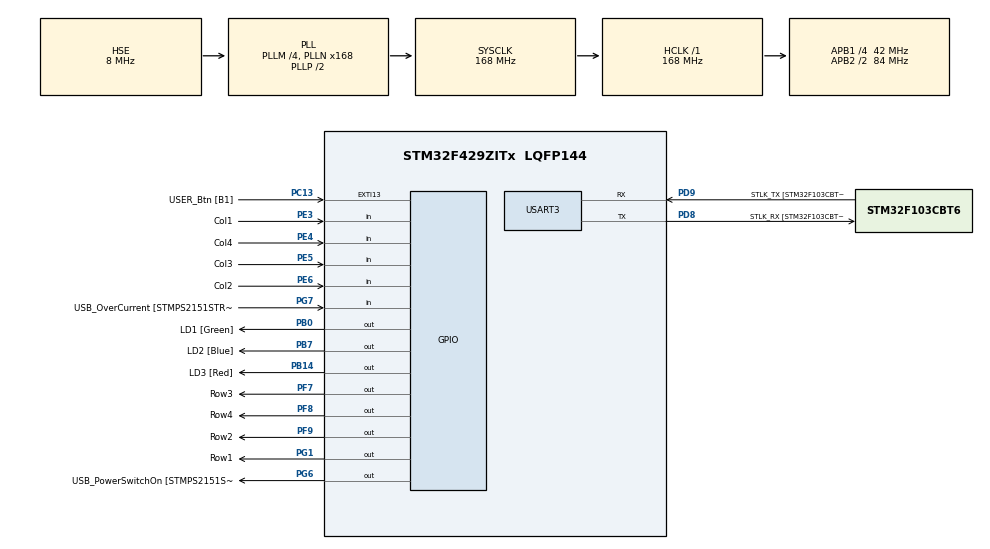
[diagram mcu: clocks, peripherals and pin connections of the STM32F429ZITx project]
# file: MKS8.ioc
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Mcu.Family=STM32F4
Mcu.Name=STM32F429ZITx
Mcu.Package=LQFP144
NVIC.PriorityGroup=NVIC_PRIORITYGROUP_4
NVIC.TIM3_IRQn=true\:0\:0\:false\:false\:true\:true\:true\:true
PA1.GPIO_Label=RMII_REF_CLK [LAN8742A-CZ-TR_REFCLK0]
PA1.Signal=ETH_REF_CLK
PA10.GPIO_Label=USB_ID
PA10.Signal=USB_OTG_FS_ID
PA11.GPIO_Label=USB_DM
PA11.Signal=USB_OTG_FS_DM
PA12.GPIO_Label=USB_DP
PA12.Signal=USB_OTG_FS_DP
PA13.GPIO_Label=TMS
PA13.Mode=Serial_Wire
PA13.Signal=SYS_JTMS-SWDIO
PA14.GPIO_Label=TCK
PA14.Mode=Serial_Wire
PA14.Signal=SYS_JTCK-SWCLK
PA2.GPIO_Label=RMII_MDIO [LAN8742A-CZ-TR_MDIO]
PA2.Signal=ETH_MDIO
PA7.GPIO_Label=RMII_CRS_DV [LAN8742A-CZ-TR_CRS_DV]
PA7.Signal=ETH_CRS_DV
PA8.GPIO_Label=USB_SOF [TP1]
PA8.Signal=USB_OTG_FS_SOF
PA9.GPIO_Label=USB_VBUS
PA9.Signal=USB_OTG_FS_VBUS
PB0.GPIO_Label=LD1 [Green]
PB0.Signal=GPIO_Output
PB13.GPIO_Label=RMII_TXD1 [LAN8742A-CZ-TR_TXD1]
PB13.Signal=ETH_TXD1
PB14.GPIO_Label=LD3 [Red]
PB14.Signal=GPIO_Output
PB7.GPIO_Label=LD2 [Blue]
PB7.Signal=GPIO_Output
PC1.GPIO_Label=RMII_MDC [LAN8742A-CZ-TR_MDC]
PC1.Signal=ETH_MDC
PC13.GPIO_Label=USER_Btn [B1]
PC13.Signal=GPXTI13
PC14/OSC32_IN.Mode=LSE-External-Oscillator
PC14/OSC32_IN.Signal=RCC_OSC32_IN
PC15/OSC32_OUT.Mode=LSE-External-Oscillator
PC15/OSC32_OUT.Signal=RCC_OSC32_OUT
PC4.GPIO_Label=RMII_RXD0 [LAN8742A-CZ-TR_RXD0]
PC4.Signal=ETH_RXD0
PC5.GPIO_Label=RMII_RXD1 [LAN8742A-CZ-TR_RXD1]
PC5.Signal=ETH_RXD1
PD8.GPIO_Label=STLK_RX [STM32F103CBT6_PA3]
PD8.Mode=Asynchronous
PD8.Signal=USART3_TX
PD9.GPIO_Label=STLK_TX [STM32F103CBT6_PA2]
PD9.Mode=Asynchronous
PD9.Signal=USART3_RX
PE3.GPIO_Label=Col1
PE3.Signal=GPIO_Input
PE4.GPIO_Label=Col4
PE4.Signal=GPIO_Input
PE5.GPIO_Label=Col3
PE5.Signal=GPIO_Input
PE6.GPIO_Label=Col2
PE6.Signal=GPIO_Input
PF7.GPIO_Label=Row3
PF7.GPIO_ModeDefaultOutputPP=GPIO_MODE_OUTPUT_OD
PF7.GPIO_PuPd=GPIO_NOPULL
PF7.Signal=GPIO_Output
PF8.GPIO_Label=Row4
PF8.GPIO_ModeDefaultOutputPP=GPIO_MODE_OUTPUT_OD
PF8.GPIO_PuPd=GPIO_NOPULL
PF8.Signal=GPIO_Output
PF9.GPIO_Label=Row2
PF9.GPIO_ModeDefaultOutputPP=GPIO_MODE_OUTPUT_OD
PF9.GPIO_PuPd=GPIO_NOPULL
PF9.Signal=GPIO_Output
PG1.GPIO_Label=Row1
PG1.GPIO_ModeDefaultOutputPP=GPIO_MODE_OUTPUT_OD
PG1.GPIO_PuPd=GPIO_NOPULL
PG1.Signal=GPIO_Output
PG11.GPIO_Label=RMII_TX_EN [LAN8742A-CZ-TR_TXEN]
PG11.Signal=ETH_TX_EN
PG13.GPIO_Label=RMII_TXD0 [LAN8742A-CZ-TR_TXD0]
PG13.Signal=ETH_TXD0
PG6.GPIO_Label=USB_PowerSwitchOn [STMPS2151STR_EN]
PG6.Signal=GPIO_Output
PG7.GPIO_Label=USB_OverCurrent [STMPS2151STR_FAULT]
PG7.Signal=GPIO_Input
PH0/OSC_IN.GPIO_Label=MCO [STM32F103CBT6_PA8]
PH0/OSC_IN.Mode=HSE-External-Clock-Source
PH0/OSC_IN.Signal=RCC_OSC_IN
PH1/OSC_OUT.Mode=HSE-External-Clock-Source
PH1/OSC_OUT.Signal=RCC_OSC_OUT
ProjectManager.HeapSize=0x200
ProjectManager.StackSize=0x400
ProjectManager.TargetToolchain=STM32CubeIDE
RCC.48MHZClocksFreq_Value=48000000
RCC.AHBFreq_Value=168000000
RCC.APB1CLKDivider=RCC_HCLK_DIV4
RCC.APB1Freq_Value=42000000
RCC.APB1TimFreq_Value=84000000
RCC.APB2CLKDivider=RCC_HCLK_DIV2
RCC.APB2Freq_Value=84000000
RCC.APB2TimCLKDivider=2
RCC.APB2TimFreq_Value=168000000
RCC.CortexFreq_Value=168000000
RCC.HCLKFreq_Value=168000000
RCC.HSE_VALUE=8000000
RCC.HSI_VALUE=16000000
RCC.PLLM=4
RCC.PLLMUL=RCC_PLL_MUL9
RCC.PLLN=168
RCC.PLLQ=7
RCC.PLLSourceVirtual=RCC_PLLSOURCE_HSE
RCC.PRESCALERUSB=RCC_USBCLKSOURCE_PLL_DIV1_5
RCC.SYSCLKFreq_VALUE=168000000
RCC.SYSCLKSource=RCC_SYSCLKSOURCE_PLLCLK
RCC.SYSCLKSourceVirtual=RCC_SYSCLKSOURCE_PLLCLK
RCC.USBFreq_Value=48000000
RCC.VCOOutputFreq_Value=336000000
TIM3.Period=99
TIM3.Prescaler=8399
USART3.VirtualMode=VM_ASYNC
VP_TIM3_VS_ClockSourceINT.Mode=Internal
board=NUCLEO-F429ZI

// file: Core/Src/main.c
/* USER CODE BEGIN Header */
/**
  ******************************************************************************
  * @file           : main.c
  * @brief          : Main program body
  ******************************************************************************
  * @attention
  *
  * Copyright (c) 2025 STMicroelectronics.
  * All rights reserved.
  *
  * This software is licensed under terms that can be found in the LICENSE file
  * in the root directory of this software component.
  * If no LICENSE file comes with this software, it is provided AS-IS.
  *
  ******************************************************************************
  */
/* USER CODE END Header */
#include "main.h"

/* USER CODE BEGIN Includes */
#include "stdio.h"
/* USER CODE END Includes */

TIM_HandleTypeDef htim3;

UART_HandleTypeDef huart3;

/* USER CODE BEGIN PV */
static volatile char key = 0;
static const char correct_code[] = { '7', '9', '3', '2', '#' };
static uint8_t code_pos = 0;

/* USER CODE END PV */

void SystemClock_Config(void);
static void MX_GPIO_Init(void);
static void MX_USART3_UART_Init(void);
static void MX_TIM3_Init(void);

/* USER CODE BEGIN 0 */
int __io_putchar(int ch)
{
ITM_SendChar(ch);
return 0;
}
/* USER CODE END 0 */

int main(void)
{

  /* MCU Configuration--------------------------------------------------------*/

  /* Reset of all peripherals, Initializes the Flash interface and the Systick. */
  HAL_Init();

  /* Configure the system clock */
  SystemClock_Config();

  /* Initialize all configured peripherals */
  MX_GPIO_Init();
  MX_USART3_UART_Init();
  MX_TIM3_Init();
  /* USER CODE BEGIN 2 */
  HAL_TIM_Base_Start_IT(&htim3);
  char input[5] = {0};
  uint8_t i = 0;
  /* USER CODE END 2 */

  /* Infinite loop */
  /* USER CODE BEGIN WHILE */
  while (1)
  {

	  static uint32_t lastKeyTime = 0;
	  const uint32_t timeout = 5000;
	  if (key != 0)
	     {
		  input[i++] = key;
		  lastKeyTime = HAL_GetTick();
		  if(i == 5){

			  if(input[0] == '7' && input[1] == '9' && input[2] == '3' && input[3] == '2' && input[4] == '#')
			  {
				  HAL_GPIO_TogglePin(LD1_GPIO_Port, LD1_Pin);
				  printf("Good\n");
			  }
			  i = 0;
		  }
	         printf("Number: '%c'\n", key);
	         HAL_Delay(500);
	         key = 0;
	     }
	  if (i > 0 && (HAL_GetTick() - lastKeyTime) > timeout){

		  printf("Reset\n");
		  i = 0;
	  }

//	  HAL_GPIO_TogglePin(LD1_GPIO_Port, LD1_Pin);
//	  printf("Hello World\n");
//	  HAL_Delay(1000);
    /* USER CODE END WHILE */

  }
}

void SystemClock_Config(void)
{
  RCC_OscInitTypeDef RCC_OscInitStruct = {0};
  RCC_ClkInitTypeDef RCC_ClkInitStruct = {0};

  /** Configure the main internal regulator output voltage
  */
  __HAL_RCC_PWR_CLK_ENABLE();
  __HAL_PWR_VOLTAGESCALING_CONFIG(PWR_REGULATOR_VOLTAGE_SCALE1);

  /** Initializes the RCC Oscillators according to the specified parameters
  * in the RCC_OscInitTypeDef structure.
  */
  RCC_OscInitStruct.OscillatorType = RCC_OSCILLATORTYPE_HSE;
  RCC_OscInitStruct.HSEState = RCC_HSE_BYPASS;
  RCC_OscInitStruct.PLL.PLLState = RCC_PLL_ON;
  RCC_OscInitStruct.PLL.PLLSource = RCC_PLLSOURCE_HSE;
  RCC_OscInitStruct.PLL.PLLM = 4;
  RCC_OscInitStruct.PLL.PLLN = 168;
  RCC_OscInitStruct.PLL.PLLP = RCC_PLLP_DIV2;
  RCC_OscInitStruct.PLL.PLLQ = 7;
  if (HAL_RCC_OscConfig(&RCC_OscInitStruct) != HAL_OK)
  {
    Error_Handler();
  }

  /** Initializes the CPU, AHB and APB buses clocks
  */
  RCC_ClkInitStruct.ClockType = RCC_CLOCKTYPE_HCLK|RCC_CLOCKTYPE_SYSCLK
                              |RCC_CLOCKTYPE_PCLK1|RCC_CLOCKTYPE_PCLK2;
  RCC_ClkInitStruct.SYSCLKSource = RCC_SYSCLKSOURCE_PLLCLK;
  RCC_ClkInitStruct.AHBCLKDivider = RCC_SYSCLK_DIV1;
  RCC_ClkInitStruct.APB1CLKDivider = RCC_HCLK_DIV4;
  RCC_ClkInitStruct.APB2CLKDivider = RCC_HCLK_DIV2;

  if (HAL_RCC_ClockConfig(&RCC_ClkInitStruct, FLASH_LATENCY_5) != HAL_OK)
  {
    Error_Handler();
  }
}

static void MX_TIM3_Init(void)
{

  TIM_ClockConfigTypeDef sClockSourceConfig = {0};
  TIM_MasterConfigTypeDef sMasterConfig = {0};

  htim3.Instance = TIM3;
  htim3.Init.Prescaler = 8399;
  htim3.Init.CounterMode = TIM_COUNTERMODE_UP;
  htim3.Init.Period = 99;
  htim3.Init.ClockDivision = TIM_CLOCKDIVISION_DIV1;
  htim3.Init.AutoReloadPreload = TIM_AUTORELOAD_PRELOAD_DISABLE;
  if (HAL_TIM_Base_Init(&htim3) != HAL_OK)
  {
    Error_Handler();
  }
  sClockSourceConfig.ClockSource = TIM_CLOCKSOURCE_INTERNAL;
  if (HAL_TIM_ConfigClockSource(&htim3, &sClockSourceConfig) != HAL_OK)
  {
    Error_Handler();
  }
  sMasterConfig.MasterOutputTrigger = TIM_TRGO_RESET;
  sMasterConfig.MasterSlaveMode = TIM_MASTERSLAVEMODE_DISABLE;
  if (HAL_TIMEx_MasterConfigSynchronization(&htim3, &sMasterConfig) != HAL_OK)
  {
    Error_Handler();
  }

}

static void MX_USART3_UART_Init(void)
{

  huart3.Instance = USART3;
  huart3.Init.BaudRate = 115200;
  huart3.Init.WordLength = UART_WORDLENGTH_8B;
  huart3.Init.StopBits = UART_STOPBITS_1;
  huart3.Init.Parity = UART_PARITY_NONE;
  huart3.Init.Mode = UART_MODE_TX_RX;
  huart3.Init.HwFlowCtl = UART_HWCONTROL_NONE;
  huart3.Init.OverSampling = UART_OVERSAMPLING_16;
  if (HAL_UART_Init(&huart3) != HAL_OK)
  {
    Error_Handler();
  }

}

static void MX_GPIO_Init(void)
{
  GPIO_InitTypeDef GPIO_InitStruct = {0};

  /* GPIO Ports Clock Enable */
  __HAL_RCC_GPIOE_CLK_ENABLE();
  __HAL_RCC_GPIOC_CLK_ENABLE();
  __HAL_RCC_GPIOF_CLK_ENABLE();
  __HAL_RCC_GPIOH_CLK_ENABLE();
  __HAL_RCC_GPIOA_CLK_ENABLE();
  __HAL_RCC_GPIOB_CLK_ENABLE();
  __HAL_RCC_GPIOG_CLK_ENABLE();
  __HAL_RCC_GPIOD_CLK_ENABLE();

  /*Configure GPIO pin Output Level */
  HAL_GPIO_WritePin(GPIOF, Row3_Pin|Row4_Pin|Row2_Pin, GPIO_PIN_RESET);

  /*Configure GPIO pin Output Level */
  HAL_GPIO_WritePin(GPIOB, LD1_Pin|LD3_Pin|LD2_Pin, GPIO_PIN_RESET);

  /*Configure GPIO pin Output Level */
  HAL_GPIO_WritePin(GPIOG, Row1_Pin|USB_PowerSwitchOn_Pin, GPIO_PIN_RESET);

  /*Configure GPIO pins : Col1_Pin Col4_Pin Col3_Pin Col2_Pin */
  GPIO_InitStruct.Pin = Col1_Pin|Col4_Pin|Col3_Pin|Col2_Pin;
  GPIO_InitStruct.Mode = GPIO_MODE_INPUT;
  GPIO_InitStruct.Pull = GPIO_PULLUP;
  HAL_GPIO_Init(GPIOE, &GPIO_InitStruct);

  /*Configure GPIO pin : USER_Btn_Pin */
  GPIO_InitStruct.Pin = USER_Btn_Pin;
  GPIO_InitStruct.Mode = GPIO_MODE_IT_RISING;
  GPIO_InitStruct.Pull = GPIO_NOPULL;
  HAL_GPIO_Init(USER_Btn_GPIO_Port, &GPIO_InitStruct);

  /*Configure GPIO pins : Row3_Pin Row4_Pin Row2_Pin */
  GPIO_InitStruct.Pin = Row3_Pin|Row4_Pin|Row2_Pin;
  GPIO_InitStruct.Mode = GPIO_MODE_OUTPUT_OD;
  GPIO_InitStruct.Pull = GPIO_NOPULL;
  GPIO_InitStruct.Speed = GPIO_SPEED_FREQ_LOW;
  HAL_GPIO_Init(GPIOF, &GPIO_InitStruct);

  /*Configure GPIO pins : RMII_MDC_Pin RMII_RXD0_Pin RMII_RXD1_Pin */
  GPIO_InitStruct.Pin = RMII_MDC_Pin|RMII_RXD0_Pin|RMII_RXD1_Pin;
  GPIO_InitStruct.Mode = GPIO_MODE_AF_PP;
  GPIO_InitStruct.Pull = GPIO_NOPULL;
  GPIO_InitStruct.Speed = GPIO_SPEED_FREQ_VERY_HIGH;
  GPIO_InitStruct.Alternate = GPIO_AF11_ETH;
  HAL_GPIO_Init(GPIOC, &GPIO_InitStruct);

  /*Configure GPIO pins : RMII_REF_CLK_Pin RMII_MDIO_Pin RMII_CRS_DV_Pin */
  GPIO_InitStruct.Pin = RMII_REF_CLK_Pin|RMII_MDIO_Pin|RMII_CRS_DV_Pin;
  GPIO_InitStruct.Mode = GPIO_MODE_AF_PP;
  GPIO_InitStruct.Pull = GPIO_NOPULL;
  GPIO_InitStruct.Speed = GPIO_SPEED_FREQ_VERY_HIGH;
  GPIO_InitStruct.Alternate = GPIO_AF11_ETH;
  HAL_GPIO_Init(GPIOA, &GPIO_InitStruct);

  /*Configure GPIO pins : LD1_Pin LD3_Pin LD2_Pin */
  GPIO_InitStruct.Pin = LD1_Pin|LD3_Pin|LD2_Pin;
  GPIO_InitStruct.Mode = GPIO_MODE_OUTPUT_PP;
  GPIO_InitStruct.Pull = GPIO_NOPULL;
  GPIO_InitStruct.Speed = GPIO_SPEED_FREQ_LOW;
  HAL_GPIO_Init(GPIOB, &GPIO_InitStruct);

  /*Configure GPIO pin : Row1_Pin */
  GPIO_InitStruct.Pin = Row1_Pin;
  GPIO_InitStruct.Mode = GPIO_MODE_OUTPUT_OD;
  GPIO_InitStruct.Pull = GPIO_NOPULL;
  GPIO_InitStruct.Speed = GPIO_SPEED_FREQ_LOW;
  HAL_GPIO_Init(Row1_GPIO_Port, &GPIO_InitStruct);

  /*Configure GPIO pin : RMII_TXD1_Pin */
  GPIO_InitStruct.Pin = RMII_TXD1_Pin;
  GPIO_InitStruct.Mode = GPIO_MODE_AF_PP;
  GPIO_InitStruct.Pull = GPIO_NOPULL;
  GPIO_InitStruct.Speed = GPIO_SPEED_FREQ_VERY_HIGH;
  GPIO_InitStruct.Alternate = GPIO_AF11_ETH;
  HAL_GPIO_Init(RMII_TXD1_GPIO_Port, &GPIO_InitStruct);

  /*Configure GPIO pin : USB_PowerSwitchOn_Pin */
  GPIO_InitStruct.Pin = USB_PowerSwitchOn_Pin;
  GPIO_InitStruct.Mode = GPIO_MODE_OUTPUT_PP;
  GPIO_InitStruct.Pull = GPIO_NOPULL;
  GPIO_InitStruct.Speed = GPIO_SPEED_FREQ_LOW;
  HAL_GPIO_Init(USB_PowerSwitchOn_GPIO_Port, &GPIO_InitStruct);

  /*Configure GPIO pin : USB_OverCurrent_Pin */
  GPIO_InitStruct.Pin = USB_OverCurrent_Pin;
  GPIO_InitStruct.Mode = GPIO_MODE_INPUT;
  GPIO_InitStruct.Pull = GPIO_NOPULL;
  HAL_GPIO_Init(USB_OverCurrent_GPIO_Port, &GPIO_InitStruct);

  /*Configure GPIO pins : USB_SOF_Pin USB_ID_Pin USB_DM_Pin USB_DP_Pin */
  GPIO_InitStruct.Pin = USB_SOF_Pin|USB_ID_Pin|USB_DM_Pin|USB_DP_Pin;
  GPIO_InitStruct.Mode = GPIO_MODE_AF_PP;
  GPIO_InitStruct.Pull = GPIO_NOPULL;
  GPIO_InitStruct.Speed = GPIO_SPEED_FREQ_VERY_HIGH;
  GPIO_InitStruct.Alternate = GPIO_AF10_OTG_FS;
  HAL_GPIO_Init(GPIOA, &GPIO_InitStruct);

  /*Configure GPIO pin : USB_VBUS_Pin */
  GPIO_InitStruct.Pin = USB_VBUS_Pin;
  GPIO_InitStruct.Mode = GPIO_MODE_INPUT;
  GPIO_InitStruct.Pull = GPIO_NOPULL;
  HAL_GPIO_Init(USB_VBUS_GPIO_Port, &GPIO_InitStruct);

  /*Configure GPIO pins : RMII_TX_EN_Pin RMII_TXD0_Pin */
  GPIO_InitStruct.Pin = RMII_TX_EN_Pin|RMII_TXD0_Pin;
  GPIO_InitStruct.Mode = GPIO_MODE_AF_PP;
  GPIO_InitStruct.Pull = GPIO_NOPULL;
  GPIO_InitStruct.Speed = GPIO_SPEED_FREQ_VERY_HIGH;
  GPIO_InitStruct.Alternate = GPIO_AF11_ETH;
  HAL_GPIO_Init(GPIOG, &GPIO_InitStruct);

}

/* USER CODE BEGIN 4 */
void HAL_TIM_PeriodElapsedCallback(TIM_HandleTypeDef *htim)
{
    if (htim->Instance != TIM3) return;
    static uint8_t row = 0;
    static const char keyboard[4][4] =
    {
        { '1', '2', '3', 'A' },
        { '4', '5', '6', 'B' },
        { '7', '8', '9', 'C' },
        { '*', '0', '#', 'D' }
    };
    if (key == 0)
    {
        if (HAL_GPIO_ReadPin(Col1_GPIO_Port, Col1_Pin) == GPIO_PIN_RESET)
            key = keyboard[row][0];
        if (HAL_GPIO_ReadPin(Col2_GPIO_Port, Col2_Pin) == GPIO_PIN_RESET)
            key = keyboard[row][1];
        if (HAL_GPIO_ReadPin(Col3_GPIO_Port, Col3_Pin) == GPIO_PIN_RESET)
            key = keyboard[row][2];
        if (HAL_GPIO_ReadPin(Col4_GPIO_Port, Col4_Pin) == GPIO_PIN_RESET)
            key = keyboard[row][3];
    }

    HAL_GPIO_WritePin(Row1_GPIO_Port, Row1_Pin, GPIO_PIN_SET);
    HAL_GPIO_WritePin(Row2_GPIO_Port, Row2_Pin, GPIO_PIN_SET);
    HAL_GPIO_WritePin(Row3_GPIO_Port, Row3_Pin, GPIO_PIN_SET);
    HAL_GPIO_WritePin(Row4_GPIO_Port, Row4_Pin, GPIO_PIN_SET);

    switch (row)
    {
        case 0:
        	row = 1;
            HAL_GPIO_WritePin(Row2_GPIO_Port, Row2_Pin, GPIO_PIN_RESET);
            break;
        case 1:
        	row = 2;
            HAL_GPIO_WritePin(Row3_GPIO_Port, Row3_Pin, GPIO_PIN_RESET);
            break;
        case 2:
        	row = 3;
            HAL_GPIO_WritePin(Row4_GPIO_Port, Row4_Pin, GPIO_PIN_RESET);
            break;
        case 3:
        	row = 0;
            HAL_GPIO_WritePin(Row1_GPIO_Port, Row1_Pin, GPIO_PIN_RESET);
            break;
    }
}

/* USER CODE END 4 */

void Error_Handler(void)
{
  __disable_irq();
  while (1)
  {
  }
}
